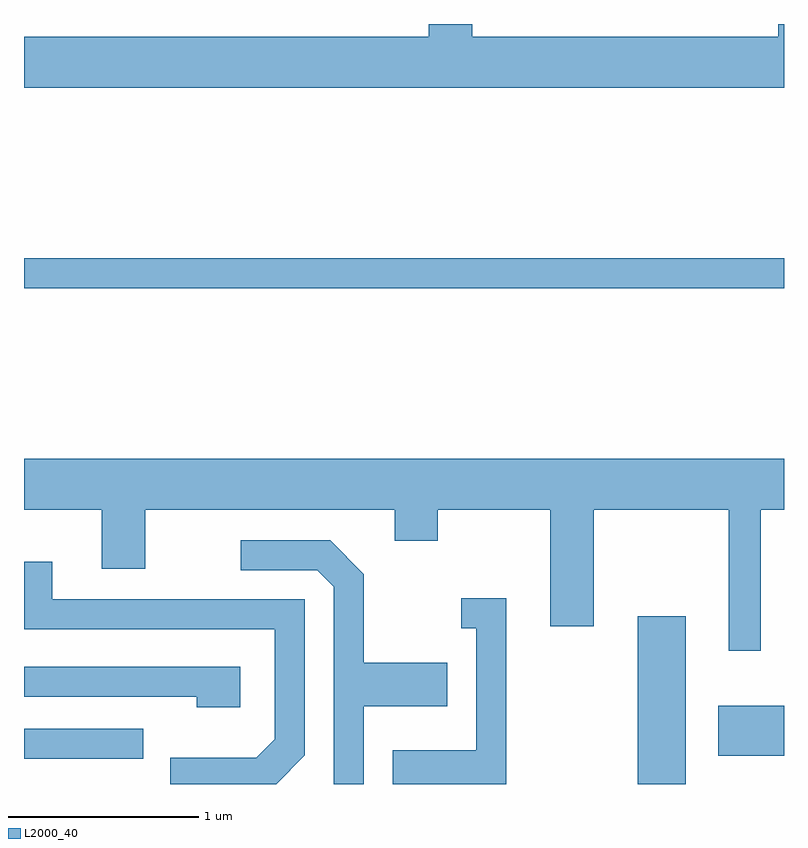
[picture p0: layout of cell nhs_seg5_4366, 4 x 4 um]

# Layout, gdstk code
import gdstk
lib = gdstk.Library(unit=1e-6, precision=1e-09)
def R(c, l, rs):  # rectangles x0, y0, x1, y1
    for r in rs: c.add(gdstk.rectangle(r[:2], r[2:], *l))
def P(c, l, *ps):  # polygons
    for p in ps: c.add(gdstk.Polygon(p, *l))
L2000_40 = (2000, 40)

nhs_seg5_4366 = lib.new_cell('nhs_seg5_4366')
R(nhs_seg5_4366, L2000_40, [(318.841,1402.072,319.094,1402.954), (315.611,1402.206,316.238,1402.364), (319.266,1402.221,319.611,1402.484), (315.611,1404.681,319.611,1404.839)])
P(nhs_seg5_4366, L2000_40, [(319.611,1406.072),(319.581,1406.072),(319.581,1406.004),(317.969,1406.004),(317.969,1406.072),(317.741,1406.072),(317.741,1406.004),(315.611,1406.004),(315.611,1405.736),(319.611,1405.736)],
  [(319.489,1403.516),(319.611,1403.516),(319.611,1403.784),(315.611,1403.784),(315.611,1403.516),(316.021,1403.516),(316.021,1403.206),(316.249,1403.206),(316.249,1403.516),(317.561,1403.516),(317.561,1403.351),(317.789,1403.351),(317.789,1403.516),(318.381,1403.516),(318.381,1402.901),(318.609,1402.901),(318.609,1403.516),(319.321,1403.516),(319.321,1402.773),(319.489,1402.773)],
  [(317.399,1402.481),(317.839,1402.481),(317.839,1402.709),(317.399,1402.709),(317.399,1403.177),(317.222,1403.354),(316.753,1403.354),(316.753,1403.196),(317.154,1403.196),(317.241,1403.109),(317.241,1402.072),(317.399,1402.072)],
  [(317.089,1402.224),(317.089,1403.044),(315.759,1403.044),(315.759,1403.243),(315.611,1403.243),(315.611,1402.886),(316.931,1402.886),(316.931,1402.307),(316.834,1402.209),(316.381,1402.209),(316.381,1402.072),(316.938,1402.072)],
  [(318.149,1403.049),(317.913,1403.049),(317.913,1402.891),(317.991,1402.891),(317.991,1402.249),(317.551,1402.249),(317.551,1402.072),(318.149,1402.072)],
  [(316.749,1402.689),(315.611,1402.689),(315.611,1402.531),(316.521,1402.531),(316.521,1402.476),(316.749,1402.476)])

lib.write_gds('nhs_seg5_4366.gds')
